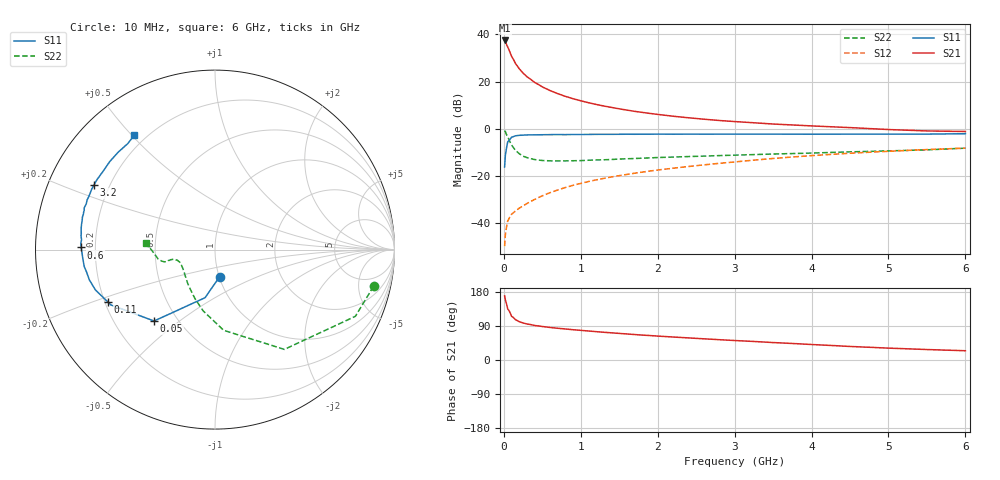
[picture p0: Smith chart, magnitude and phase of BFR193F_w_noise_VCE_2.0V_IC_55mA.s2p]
! (c) 2017  Infineon Technologies AG, Munich
! Infineon Technologies  Discrete & RF Semiconductors
! BFR193F
! VCE =  2.0 V,  IC =  55 mA
! Common Emitter S-Parameters:  Jan 2017
# GHz  S  MA  R  50
!  f  S11  S21  S12  S22
! GHz  MAG  ANG  MAG  ANG  MAG  ANG  MAG  ANG
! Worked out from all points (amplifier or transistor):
!   77 points, 10 MHz to 6 GHz, reference 50 ohm
!   highest |S21| = 37.4 dB at 10 MHz (marker M1)
!   |S21| within 3 dB of that: start of sweep to 53.37 MHz
!   unconditionally stable (mu >= 1): 666.8 MHz to 2.689 GHz
!   at 130 MHz: K = 0.56, MSG = 32.3 dB, |S12| = -35.5 dB
!   at 2.2 GHz: K = 1.02, MAG = 10.1 dB, |S12| = -16.8 dB
!   at 6 GHz: K = 0.89, MSG = 3.5 dB, |S12| = -8.3 dB
!   lowest NFmin = 1.56 dB at 450 MHz
!   S11 on the Smith chart (normalised r, x): 10 MHz: 1.00, -0.31; 50 MHz: 0.37, -0.41; 110 MHz: 0.21, -0.22; 600 MHz: 0.15, +0.01; 3.2 GHz: 0.14, +0.24; 6 GHz: 0.16, +0.51
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0.01  0.1532 -80.3  74.33 169.1  0.0032 83.7  0.907 -13.0
0.02  0.2739 -101.7  70.46 158.2  0.0056 72.7  0.8659 -25.4
0.05  0.5231 -130.5  54.11 134.8  0.0109 59.1  0.6771 -55.2
0.1  0.6568 -152.0  34.38 115.4  0.0152 51.8  0.4522 -83.9
0.11  0.6646 -154.0  32.33 114.1  0.0157 51.9  0.4286 -86.6
0.15  0.7032 -161.4  24.36 106.6  0.0177 52.1  0.3471 -101.1
0.2  0.7201 -166.5  18.68 101.2  0.0205 53.9  0.2939 -112.5
0.25  0.7273 -170.4  15.08 97.7  0.0229 57.6  0.2602 -121.9
0.3  0.7346 -172.6  12.66 95.1  0.0257 61.1  0.2426 -128.7
0.4  0.7385 -176.4  9.567 91.1  0.0314 65.1  0.2204 -138.9
0.5  0.7417 -178.8  7.688 88.4  0.0375 68.0  0.2107 -145.7
0.6  0.7457 179.1  6.437 85.9  0.0437 69.8  0.207 -150.8
0.7  0.7483 177.2  5.529 83.7  0.0498 70.7  0.2061 -154.3
0.8  0.7455 175.8  4.841 81.9  0.0563 72.1  0.2067 -157.4
1.1  0.7537 171.7  3.546 76.5  0.0753 73.4  0.2135 -162.2
1.5  0.7584 167.2  2.632 70.2  0.1003 73.8  0.2262 -165.6
2.1  0.763 161.4  1.917 61.9  0.1383 73.2  0.2462 -167.0
3.1  0.7647 152.9  1.379 50.4  0.2033 70.4  0.2764 -166.1
3.2  0.7643 152.0  1.347 49.4  0.2106 70.0  0.2795 -166.2
4.1  0.7613 143.9  1.123 39.9  0.2736 65.5  0.3064 -168.3
5.1  0.7646 133.7  0.943 30.6  0.3361 59.1  0.3401 -176.5
6  0.7799 125.2  0.869 24.4  0.3856 53.5  0.3848 174.9
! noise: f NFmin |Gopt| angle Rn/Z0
0.45  1.56  0.48  -179  0.07
0.9  1.64  0.49  -177  0.08
1.9  2.22  0.6  -163  0.1
2.4  2.54  0.62  -155  0.16
